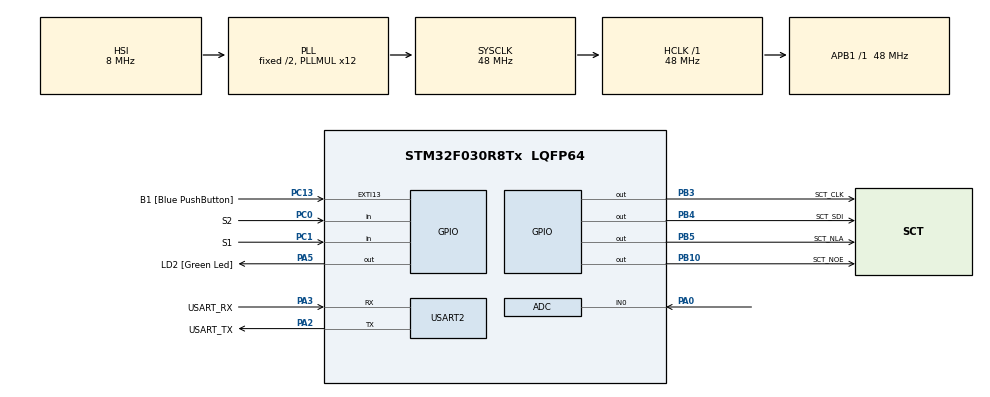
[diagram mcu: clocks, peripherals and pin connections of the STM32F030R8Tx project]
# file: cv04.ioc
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ADC.ContinuousConvMode=ENABLE
ADC.Overrun=ADC_OVR_DATA_OVERWRITTEN
ADC.SamplingTime=ADC_SAMPLETIME_239CYCLES_5
Mcu.Family=STM32F0
Mcu.Name=STM32F030R8Tx
Mcu.Package=LQFP64
NVIC.ADC1_IRQn=true\:0\:0\:false\:false\:true\:true\:true
PA0.Mode=IN0
PA0.Signal=ADC_IN0
PA13.GPIO_Label=TMS
PA13.Mode=Serial_Wire
PA13.Signal=SYS_SWDIO
PA14.GPIO_Label=TCK
PA14.Mode=Serial_Wire
PA14.Signal=SYS_SWCLK
PA2.GPIO_Label=USART_TX
PA2.GPIO_Mode=GPIO_MODE_AF_PP
PA2.GPIO_PuPd=GPIO_NOPULL
PA2.GPIO_Speed=GPIO_SPEED_FREQ_LOW
PA2.Mode=Asynchronous
PA2.Signal=USART2_TX
PA3.GPIO_Label=USART_RX
PA3.GPIO_Mode=GPIO_MODE_AF_PP
PA3.GPIO_PuPd=GPIO_NOPULL
PA3.GPIO_Speed=GPIO_SPEED_FREQ_LOW
PA3.Mode=Asynchronous
PA3.Signal=USART2_RX
PA5.GPIO_Label=LD2 [Green Led]
PA5.GPIO_Mode=GPIO_MODE_OUTPUT_PP
PA5.GPIO_PuPd=GPIO_NOPULL
PA5.GPIO_Speed=GPIO_SPEED_FREQ_LOW
PA5.Signal=GPIO_Output
PB10.GPIO_Label=SCT_NOE
PB10.Signal=GPIO_Output
PB3.GPIO_Label=SCT_CLK
PB3.Signal=GPIO_Output
PB4.GPIO_Label=SCT_SDI
PB4.Signal=GPIO_Output
PB5.GPIO_Label=SCT_NLA
PB5.Signal=GPIO_Output
PC0.GPIO_Label=S2
PC0.GPIO_PuPd=GPIO_PULLUP
PC0.Signal=GPIO_Input
PC1.GPIO_Label=S1
PC1.GPIO_PuPd=GPIO_PULLUP
PC1.Signal=GPIO_Input
PC13.GPIO_Label=B1 [Blue PushButton]
PC13.GPIO_ModeDefaultEXTI=GPIO_MODE_IT_FALLING
PC13.Signal=GPXTI13
PC14-OSC32_IN.Mode=LSE-External-Oscillator
PC14-OSC32_IN.Signal=RCC_OSC32_IN
PC15-OSC32_OUT.Mode=LSE-External-Oscillator
PC15-OSC32_OUT.Signal=RCC_OSC32_OUT
PF0-OSC_IN.Mode=HSE-External-Clock-Source
PF0-OSC_IN.Signal=RCC_OSC_IN
PF1-OSC_OUT.Signal=RCC_OSC_OUT
ProjectManager.HeapSize=0x200
ProjectManager.StackSize=0x400
ProjectManager.TargetToolchain=STM32CubeIDE
RCC.AHBFreq_Value=48000000
RCC.APB1Freq_Value=48000000
RCC.APB1TimFreq_Value=48000000
RCC.HCLKFreq_Value=48000000
RCC.PLLMUL=RCC_PLL_MUL12
RCC.SYSCLKFreq_VALUE=48000000
RCC.SYSCLKSource=RCC_SYSCLKSOURCE_PLLCLK
USART2.VirtualMode-Asynchronous=VM_ASYNC
VP_ADC_TempSens_Input.Mode=IN-TempSens
VP_ADC_Vref_Input.Mode=IN-Vrefint
board=NUCLEO-F030R8

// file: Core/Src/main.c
/* USER CODE BEGIN Header */
/**
  ******************************************************************************
  * @file           : main.c
  * @brief          : Main program body
  ******************************************************************************
  * @attention
  *
  * <h2><center>&copy; Copyright (c) 2020 STMicroelectronics.
  * All rights reserved.</center></h2>
  *
  * This software component is licensed by ST under BSD 3-Clause license,
  * the "License"; You may not use this file except in compliance with the
  * License. You may obtain a copy of the License at:
  *                        opensource.org/licenses/BSD-3-Clause
  *
  ******************************************************************************
  */
/* USER CODE END Header */
#include "main.h"

/* USER CODE BEGIN Includes */
#include "sct.h"
/* USER CODE END Includes */

/* USER CODE BEGIN PD */

#define ADC_Q 12

/* Temperature sensor calibration value address */
#define TEMP110_CAL_ADDR ((uint16_t*) ((uint32_t) 0x1FFFF7C2))
#define TEMP30_CAL_ADDR ((uint16_t*) ((uint32_t) 0x1FFFF7B8))
/* Internal voltage reference calibration value address */
#define VREFINT_CAL_ADDR ((uint16_t*) ((uint32_t) 0x1FFFF7BA))

/* USER CODE END PD */

ADC_HandleTypeDef hadc;

UART_HandleTypeDef huart2;

/* USER CODE BEGIN PV */
static volatile uint32_t raw_pot;
static volatile uint32_t raw_temp;
static volatile uint32_t raw_volt;
/* USER CODE END PV */

void SystemClock_Config(void);
static void MX_GPIO_Init(void);
static void MX_USART2_UART_Init(void);
static void MX_ADC_Init(void);

/* USER CODE BEGIN 0 */

void HAL_ADC_ConvCpltCallback(ADC_HandleTypeDef* hadc)
{
//	raw_pot = HAL_ADC_GetValue(hadc);

	static uint8_t channel = 0;
	if (channel == 0){
		static uint32_t avg_pot;

		raw_pot = avg_pot >> ADC_Q;
		avg_pot -= raw_pot;
		avg_pot += HAL_ADC_GetValue(hadc);
	}
	else if (channel == 1){
		raw_temp = HAL_ADC_GetValue(hadc);
	}
	else if (channel == 1){
		raw_volt = HAL_ADC_GetValue(hadc);
	}

	if (__HAL_ADC_GET_FLAG(hadc, ADC_FLAG_EOS)) channel = 0;
	else channel++;
}

/* USER CODE END 0 */

int main(void)
{

  /* MCU Configuration--------------------------------------------------------*/

  /* Reset of all peripherals, Initializes the Flash interface and the Systick. */
  HAL_Init();

  /* Configure the system clock */
  SystemClock_Config();

  /* Initialize all configured peripherals */
  MX_GPIO_Init();
  MX_USART2_UART_Init();
  MX_ADC_Init();
  /* USER CODE BEGIN 2 */

  sct_init();

  HAL_ADCEx_Calibration_Start(&hadc);
  HAL_ADC_Start_IT(&hadc);

  /* USER CODE END 2 */

  /* Infinite loop */
  while (1)
  {

    /* USER CODE BEGIN 3 */

	  static enum {SHOW_POT, SHOW_VOLT, SHOW_TEMP} state = SHOW_POT;
	  static uint32_t delay;

	  if (state == SHOW_POT){
		  sct_value(raw_pot * 500 / 4096, raw_pot * 9 / 4096);
	  }
	  else if (state == SHOW_TEMP){
		  int32_t temperature = (raw_temp - (int32_t)(*TEMP30_CAL_ADDR));

		  temperature = temperature * (int32_t)(110 - 30);
		  temperature = temperature / (int32_t)(*TEMP110_CAL_ADDR - *TEMP30_CAL_ADDR);
		  temperature = temperature + 30;

		  sct_value(temperature, raw_pot * 9 / 4096);
	  }
	  else if (state == SHOW_VOLT){
		  uint32_t voltage = 330 * (*VREFINT_CAL_ADDR) / raw_volt;

		  sct_value(voltage, raw_pot * 9 / 4096);
	  }

	  if (HAL_GPIO_ReadPin(S2_GPIO_Port, S2_Pin) == 0){ // S2
		  state = SHOW_TEMP;
		  delay = HAL_GetTick();
	  }
	  else if (HAL_GPIO_ReadPin(S1_GPIO_Port, S1_Pin) == 0){ // S1 .. else if - if both buttons pressed at the same time - show just temperature
		  state = SHOW_VOLT;
		  delay = HAL_GetTick();
	  }

	  if (HAL_GetTick() > delay + 1000){
		  state = SHOW_POT;
	  }

  }
  /* USER CODE END 3 */
}

void SystemClock_Config(void)
{
  RCC_OscInitTypeDef RCC_OscInitStruct = {0};
  RCC_ClkInitTypeDef RCC_ClkInitStruct = {0};

  /** Initializes the RCC Oscillators according to the specified parameters
  * in the RCC_OscInitTypeDef structure.
  */
  RCC_OscInitStruct.OscillatorType = RCC_OSCILLATORTYPE_HSI|RCC_OSCILLATORTYPE_HSI14;
  RCC_OscInitStruct.HSIState = RCC_HSI_ON;
  RCC_OscInitStruct.HSI14State = RCC_HSI14_ON;
  RCC_OscInitStruct.HSICalibrationValue = RCC_HSICALIBRATION_DEFAULT;
  RCC_OscInitStruct.HSI14CalibrationValue = 16;
  RCC_OscInitStruct.PLL.PLLState = RCC_PLL_ON;
  RCC_OscInitStruct.PLL.PLLSource = RCC_PLLSOURCE_HSI;
  RCC_OscInitStruct.PLL.PLLMUL = RCC_PLL_MUL12;
  RCC_OscInitStruct.PLL.PREDIV = RCC_PREDIV_DIV1;
  if (HAL_RCC_OscConfig(&RCC_OscInitStruct) != HAL_OK)
  {
    Error_Handler();
  }
  /** Initializes the CPU, AHB and APB buses clocks
  */
  RCC_ClkInitStruct.ClockType = RCC_CLOCKTYPE_HCLK|RCC_CLOCKTYPE_SYSCLK
                              |RCC_CLOCKTYPE_PCLK1;
  RCC_ClkInitStruct.SYSCLKSource = RCC_SYSCLKSOURCE_PLLCLK;
  RCC_ClkInitStruct.AHBCLKDivider = RCC_SYSCLK_DIV1;
  RCC_ClkInitStruct.APB1CLKDivider = RCC_HCLK_DIV1;

  if (HAL_RCC_ClockConfig(&RCC_ClkInitStruct, FLASH_LATENCY_1) != HAL_OK)
  {
    Error_Handler();
  }
}

static void MX_ADC_Init(void)
{

  ADC_ChannelConfTypeDef sConfig = {0};

  /** Configure the global features of the ADC (Clock, Resolution, Data Alignment and number of conversion)
  */
  hadc.Instance = ADC1;
  hadc.Init.ClockPrescaler = ADC_CLOCK_ASYNC_DIV1;
  hadc.Init.Resolution = ADC_RESOLUTION_12B;
  hadc.Init.DataAlign = ADC_DATAALIGN_RIGHT;
  hadc.Init.ScanConvMode = ADC_SCAN_DIRECTION_FORWARD;
  hadc.Init.EOCSelection = ADC_EOC_SINGLE_CONV;
  hadc.Init.LowPowerAutoWait = DISABLE;
  hadc.Init.LowPowerAutoPowerOff = DISABLE;
  hadc.Init.ContinuousConvMode = ENABLE;
  hadc.Init.DiscontinuousConvMode = DISABLE;
  hadc.Init.ExternalTrigConv = ADC_SOFTWARE_START;
  hadc.Init.ExternalTrigConvEdge = ADC_EXTERNALTRIGCONVEDGE_NONE;
  hadc.Init.DMAContinuousRequests = DISABLE;
  hadc.Init.Overrun = ADC_OVR_DATA_OVERWRITTEN;
  if (HAL_ADC_Init(&hadc) != HAL_OK)
  {
    Error_Handler();
  }
  /** Configure for the selected ADC regular channel to be converted.
  */
  sConfig.Channel = ADC_CHANNEL_0;
  sConfig.Rank = ADC_RANK_CHANNEL_NUMBER;
  sConfig.SamplingTime = ADC_SAMPLETIME_239CYCLES_5;
  if (HAL_ADC_ConfigChannel(&hadc, &sConfig) != HAL_OK)
  {
    Error_Handler();
  }
  /** Configure for the selected ADC regular channel to be converted.
  */
  sConfig.Channel = ADC_CHANNEL_TEMPSENSOR;
  if (HAL_ADC_ConfigChannel(&hadc, &sConfig) != HAL_OK)
  {
    Error_Handler();
  }
  /** Configure for the selected ADC regular channel to be converted.
  */
  sConfig.Channel = ADC_CHANNEL_VREFINT;
  if (HAL_ADC_ConfigChannel(&hadc, &sConfig) != HAL_OK)
  {
    Error_Handler();
  }

}

static void MX_USART2_UART_Init(void)
{

  huart2.Instance = USART2;
  huart2.Init.BaudRate = 38400;
  huart2.Init.WordLength = UART_WORDLENGTH_8B;
  huart2.Init.StopBits = UART_STOPBITS_1;
  huart2.Init.Parity = UART_PARITY_NONE;
  huart2.Init.Mode = UART_MODE_TX_RX;
  huart2.Init.HwFlowCtl = UART_HWCONTROL_NONE;
  huart2.Init.OverSampling = UART_OVERSAMPLING_16;
  huart2.Init.OneBitSampling = UART_ONE_BIT_SAMPLE_DISABLE;
  huart2.AdvancedInit.AdvFeatureInit = UART_ADVFEATURE_NO_INIT;
  if (HAL_UART_Init(&huart2) != HAL_OK)
  {
    Error_Handler();
  }

}

static void MX_GPIO_Init(void)
{
  GPIO_InitTypeDef GPIO_InitStruct = {0};

  /* GPIO Ports Clock Enable */
  __HAL_RCC_GPIOC_CLK_ENABLE();
  __HAL_RCC_GPIOF_CLK_ENABLE();
  __HAL_RCC_GPIOA_CLK_ENABLE();
  __HAL_RCC_GPIOB_CLK_ENABLE();

  /*Configure GPIO pin Output Level */
  HAL_GPIO_WritePin(LD2_GPIO_Port, LD2_Pin, GPIO_PIN_RESET);

  /*Configure GPIO pin Output Level */
  HAL_GPIO_WritePin(GPIOB, SCT_NOE_Pin|SCT_CLK_Pin|SCT_SDI_Pin|SCT_NLA_Pin, GPIO_PIN_RESET);

  /*Configure GPIO pin : B1_Pin */
  GPIO_InitStruct.Pin = B1_Pin;
  GPIO_InitStruct.Mode = GPIO_MODE_IT_FALLING;
  GPIO_InitStruct.Pull = GPIO_NOPULL;
  HAL_GPIO_Init(B1_GPIO_Port, &GPIO_InitStruct);

  /*Configure GPIO pins : S2_Pin S1_Pin */
  GPIO_InitStruct.Pin = S2_Pin|S1_Pin;
  GPIO_InitStruct.Mode = GPIO_MODE_INPUT;
  GPIO_InitStruct.Pull = GPIO_PULLUP;
  HAL_GPIO_Init(GPIOC, &GPIO_InitStruct);

  /*Configure GPIO pin : LD2_Pin */
  GPIO_InitStruct.Pin = LD2_Pin;
  GPIO_InitStruct.Mode = GPIO_MODE_OUTPUT_PP;
  GPIO_InitStruct.Pull = GPIO_NOPULL;
  GPIO_InitStruct.Speed = GPIO_SPEED_FREQ_LOW;
  HAL_GPIO_Init(LD2_GPIO_Port, &GPIO_InitStruct);

  /*Configure GPIO pins : SCT_NOE_Pin SCT_CLK_Pin SCT_SDI_Pin SCT_NLA_Pin */
  GPIO_InitStruct.Pin = SCT_NOE_Pin|SCT_CLK_Pin|SCT_SDI_Pin|SCT_NLA_Pin;
  GPIO_InitStruct.Mode = GPIO_MODE_OUTPUT_PP;
  GPIO_InitStruct.Pull = GPIO_NOPULL;
  GPIO_InitStruct.Speed = GPIO_SPEED_FREQ_LOW;
  HAL_GPIO_Init(GPIOB, &GPIO_InitStruct);

}

void Error_Handler(void)
{
}

/************************ (C) COPYRIGHT STMicroelectronics *****END OF FILE****/
